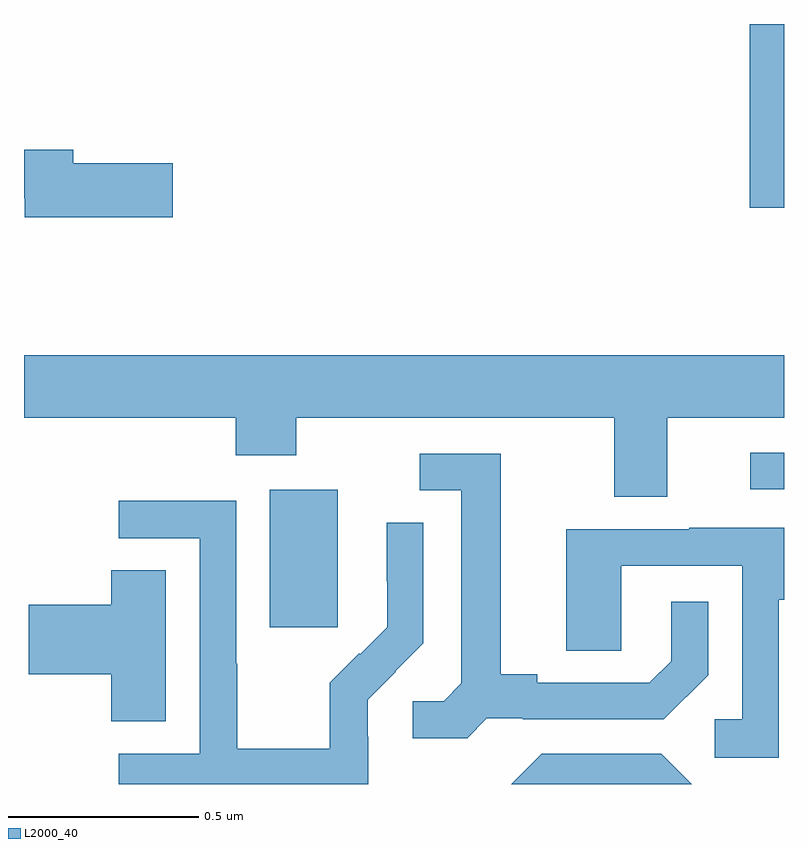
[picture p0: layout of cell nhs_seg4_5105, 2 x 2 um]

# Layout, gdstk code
import gdstk
lib = gdstk.Library(unit=1e-6, precision=1e-09)
def R(c, l, rs):  # rectangles x0, y0, x1, y1
    for r in rs: c.add(gdstk.rectangle(r[:2], r[2:], *l))
def P(c, l, *ps):  # polygons
    for p in ps: c.add(gdstk.Polygon(p, *l))
L2000_40 = (2000, 40)

nhs_seg4_5105 = lib.new_cell('nhs_seg4_5105')
R(nhs_seg4_5105, L2000_40, [(174.647,752.313,174.826,752.674), (175.911,752.676,176,752.772), (175.91,753.417,176,753.9)])
P(nhs_seg4_5105, L2000_40, [(174.391,753.533),(174.13,753.533),(174.13,753.569),(174,753.569),(174,753.441),(174.002,753.441),(174.002,753.391),(174.391,753.391)],
  [(175.693,752.864),(176,752.864),(176,753.028),(174,753.028),(174,752.864),(174.557,752.864),(174.557,752.765),(174.717,752.765),(174.717,752.864),(175.553,752.864),(175.553,752.656),(175.693,752.656)],
  [(175.218,752.073),(175.312,752.073),(175.312,752.07),(175.684,752.07),(175.8,752.186),(175.8,752.38),(175.703,752.38),(175.703,752.223),(175.646,752.166),(175.351,752.166),(175.351,752.189),(175.255,752.189),(175.255,752.769),(175.041,752.769),(175.041,752.673),(175.151,752.673),(175.151,752.165),(175.104,752.118),(175.023,752.118),(175.023,752.021),(175.166,752.021)],
  [(174.906,752.025),(174.904,752.025),(174.904,752.122),(174.978,752.196),(174.977,752.197),(175.05,752.27),(175.05,752.588),(174.954,752.588),(174.954,752.434),(174.956,752.434),(174.956,752.312),(174.885,752.241),(174.882,752.244),(174.805,752.167),(174.805,751.993),(174.561,751.993),(174.561,752.216),(174.558,752.216),(174.558,752.646),(174.249,752.646),(174.249,752.547),(174.462,752.547),(174.462,751.98),(174.249,751.98),(174.249,751.9),(174.906,751.9)],
  [(175.986,752.385),(176,752.385),(176,752.575),(175.751,752.575),(175.751,752.571),(175.427,752.571),(175.427,752.251),(175.572,752.251),(175.572,752.475),(175.89,752.475),(175.89,752.07),(175.818,752.07),(175.818,751.969),(175.986,751.969)],
  [(174.373,752.462),(174.23,752.462),(174.23,752.372),(174.012,752.372),(174.012,752.189),(174.23,752.189),(174.23,752.065),(174.373,752.065)],
  [(175.677,751.98),(175.362,751.98),(175.282,751.9),(175.757,751.9)])

lib.write_gds('nhs_seg4_5105.gds')
